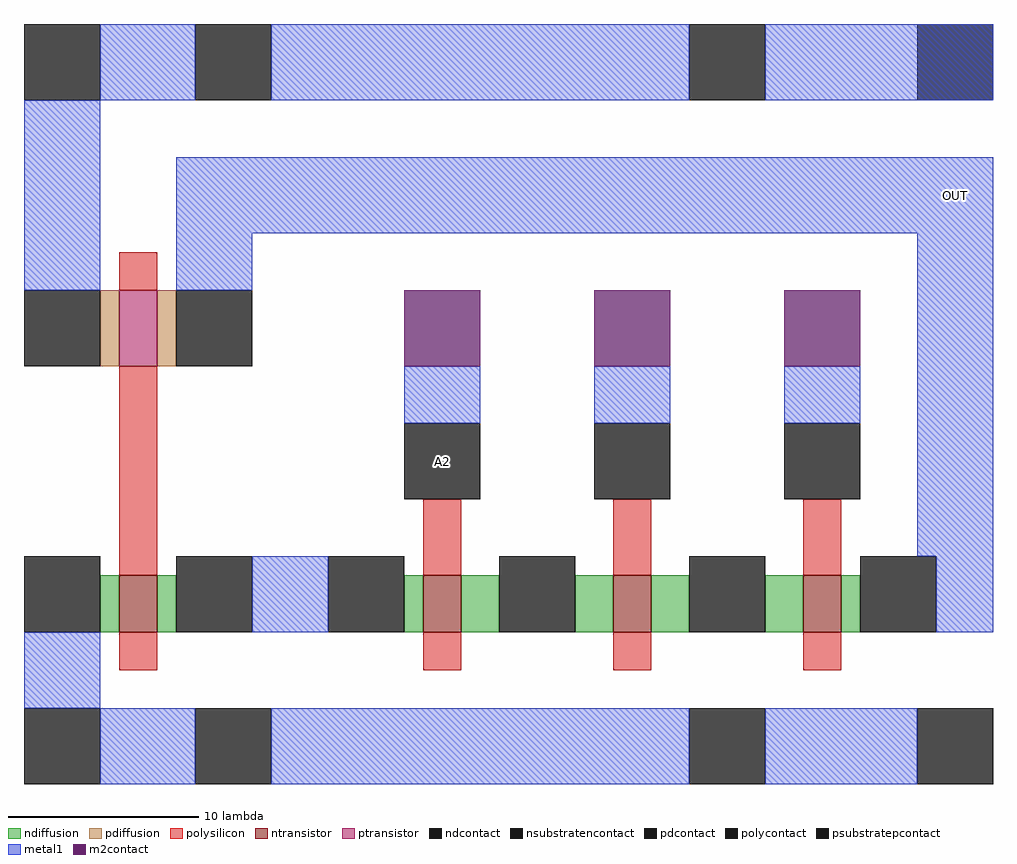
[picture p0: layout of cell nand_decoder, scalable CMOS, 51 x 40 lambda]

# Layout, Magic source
magic
tech scmos
<< polysilicon >>
rect -14 18 -12 20
rect -14 3 -12 14
rect 2 3 4 7
rect 12 3 14 7
rect 22 3 24 7
rect -14 -2 -12 0
rect 2 -2 4 0
rect 12 -2 14 0
rect 22 -2 24 0
<< ndiffusion >>
rect -15 0 -14 3
rect -12 0 -11 3
rect 1 0 2 3
rect 4 0 6 3
rect 10 0 12 3
rect 14 0 16 3
rect 20 0 22 3
rect 24 0 25 3
<< pdiffusion >>
rect -15 14 -14 18
rect -12 14 -11 18
<< metal1 >>
rect -15 28 -10 32
rect -6 28 16 32
rect 20 28 32 32
rect -19 18 -15 28
rect -11 21 32 25
rect -11 18 -7 21
rect 1 11 5 14
rect 11 11 15 14
rect 21 11 25 14
rect 28 4 32 21
rect -7 0 -3 4
rect 29 0 32 4
rect -19 -4 -15 0
rect -15 -8 -10 -4
rect -6 -8 16 -4
rect 20 -8 28 -4
<< ntransistor >>
rect -14 0 -12 3
rect 2 0 4 3
rect 12 0 14 3
rect 22 0 24 3
<< ptransistor >>
rect -14 14 -12 18
<< polycontact >>
rect 1 7 5 11
rect 11 7 15 11
rect 21 7 25 11
<< ndcontact >>
rect -19 0 -15 4
rect -11 0 -7 4
rect -3 0 1 4
rect 6 0 10 4
rect 16 0 20 4
rect 25 0 29 4
<< pdcontact >>
rect -19 14 -15 18
rect -11 14 -7 18
<< m2contact >>
rect 1 14 5 18
rect 11 14 15 18
rect 21 14 25 18
<< psubstratepcontact >>
rect -19 -8 -15 -4
rect -10 -8 -6 -4
rect 16 -8 20 -4
rect 28 -8 32 -4
<< nsubstratencontact >>
rect -19 28 -15 32
rect -10 28 -6 32
rect 16 28 20 32
rect 28 28 32 32
<< labels >>
rlabel metal1 28 21 32 25 7 OUT
rlabel polycontact 1 7 5 11 1 A2
<< end >>
